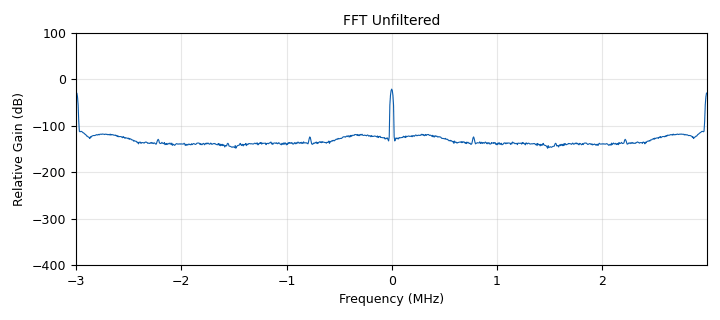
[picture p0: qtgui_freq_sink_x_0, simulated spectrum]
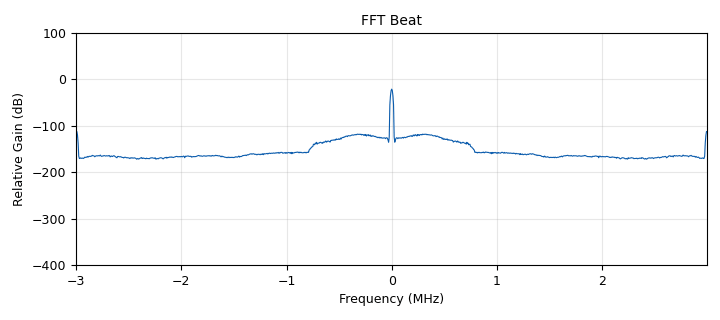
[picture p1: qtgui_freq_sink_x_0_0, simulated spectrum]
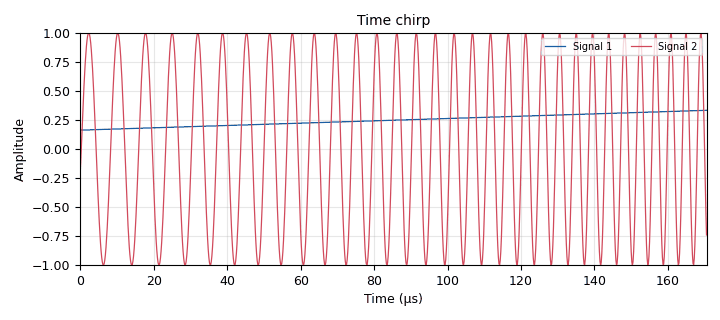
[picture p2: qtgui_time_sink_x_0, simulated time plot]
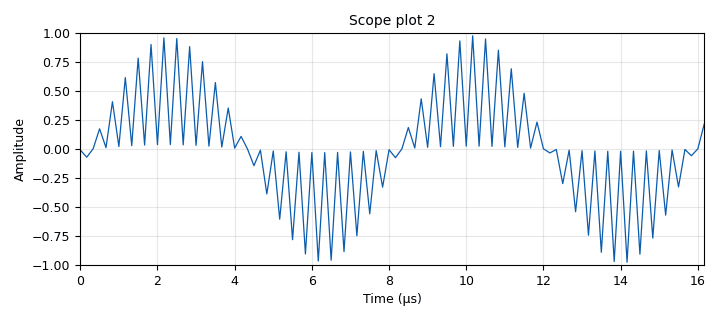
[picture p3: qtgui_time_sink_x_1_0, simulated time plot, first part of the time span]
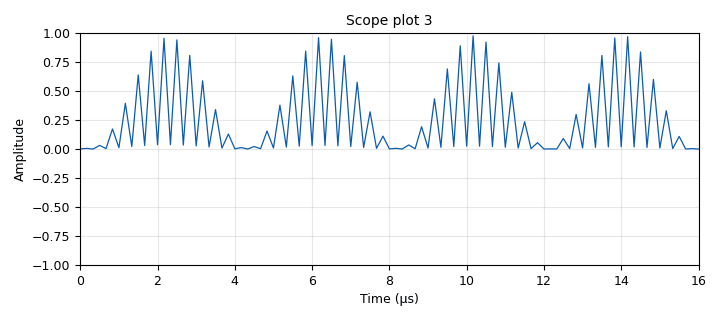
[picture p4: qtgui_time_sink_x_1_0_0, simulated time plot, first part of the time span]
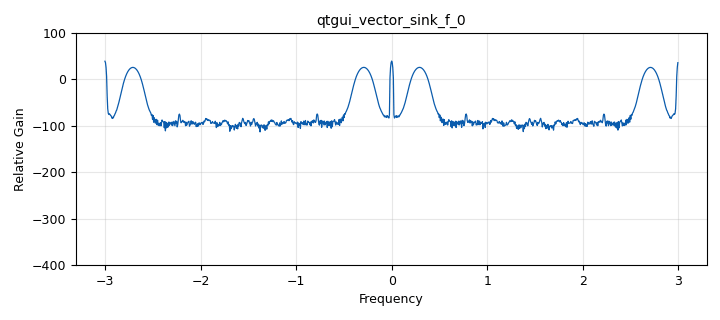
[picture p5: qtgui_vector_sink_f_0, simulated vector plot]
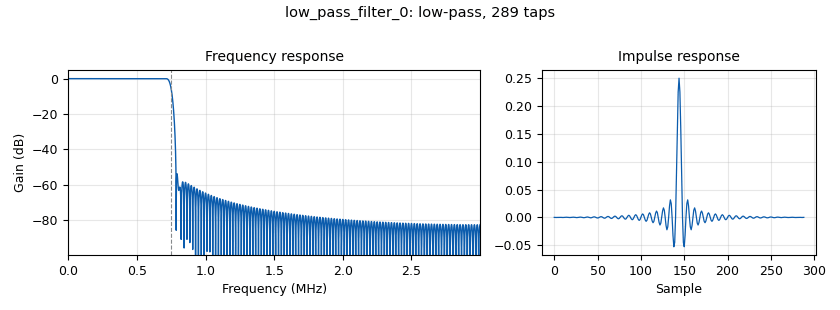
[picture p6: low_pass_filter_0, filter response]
options:
  parameters:
    generate_options: qt_gui
    id: top_block
    output_language: python
  states: {}

blocks:
- name: delay
  id: variable_qtgui_range
  parameters:
    label: '""'
    min_len: '2000'
    rangeType: int
    start: '0'
    step: '100'
    stop: '2000'
    value: '0'
  states: {}
- name: f_max
  id: variable
  parameters:
    comment: default = 750k
    value: 750e3
  states: {}
- name: fft_size
  id: variable
  parameters:
    value: 1024*1
  states: {}
- name: freq
  id: variable_qtgui_range
  parameters:
    label: '""'
    min_len: '2000'
    rangeType: int
    start: '0'
    step: '50'
    stop: '1000'
    value: '500'
  states: {}
- name: samp_rate
  id: variable
  parameters:
    value: '6000000'
  states: {}
- name: analog_const_source_x_0
  id: analog_const_source_x
  parameters:
    const: '1'
    type: float
  states: {}
- name: analog_sig_source_x_0_0
  id: analog_sig_source_x
  parameters:
    amp: '1'
    freq: freq
    offset: '0'
    phase: '0'
    samp_rate: samp_rate
    type: float
    waveform: analog.GR_TRI_WAVE
  states: {}
- name: blocks_complex_to_mag_squared_0
  id: blocks_complex_to_mag_squared
  parameters:
    vlen: fft_size
  states: {}
- name: blocks_delay_0
  id: blocks_delay
  parameters:
    delay: delay
    type: float
  states: {}
- name: blocks_delay_0_0
  id: blocks_delay
  parameters:
    delay: delay
    type: float
  states: {state: disabled}
- name: blocks_multiply_xx_0
  id: blocks_multiply_xx
  parameters:
    comment: |-
      -f_max < f < f_max
      -0.75M < f < 0.75M
    type: float
  states: {}
- name: blocks_multiply_xx_0_0
  id: blocks_multiply_xx
  parameters:
    comment: |-
      (1.5-0.75)M < f < (1.5+0.75)M
      0.75M < f < 2.25M
    type: float
  states: {}
- name: blocks_multiply_xx_0_1
  id: blocks_multiply_xx
  parameters:
    type: float
  states: {}
- name: blocks_nlog10_ff_1
  id: blocks_nlog10_ff
  parameters:
    k: '0'
    n: '10'
    vlen: fft_size
  states: {}
- name: blocks_stream_to_vector_0_1
  id: blocks_stream_to_vector
  parameters:
    num_items: fft_size
    type: float
  states: {}
- name: blocks_vco_f_0
  id: blocks_vco_f
  parameters:
    amplitude: '1'
    comment: |-
      -f_max < f < f_max
      -0.75M < f < 0.75M
    samp_rate: samp_rate
    sensitivity: 2*3.14*f_max
  states: {}
- name: blocks_vco_f_0_0
  id: blocks_vco_f
  parameters:
    amplitude: '1'
    comment: |-
      f = 2*f_max
      f = 1.5M
    samp_rate: samp_rate
    sensitivity: 4*3.14*f_max
  states: {}
- name: fft_vxx_0_0_0_1
  id: fft_vxx
  parameters:
    fft_size: fft_size
    forward: 'True'
    shift: 'True'
    type: float
    window: window.blackmanharris(fft_size)
  states: {}
- name: low_pass_filter_0
  id: low_pass_filter
  parameters:
    cutoff_freq: f_max
    decim: '1'
    gain: '1'
    samp_rate: samp_rate
    type: fir_filter_fff
    width: 50e3
    win: window.WIN_HAMMING
  states: {}
- name: qtgui_freq_sink_x_0
  id: qtgui_freq_sink_x
  parameters:
    average: '0.05'
    bw: samp_rate
    fc: '0'
    fftsize: fft_size
    name: FFT Unfiltered
    type: float
    update_time: '0.01'
    ymax: '100'
    ymin: '-400'
  states: {}
- name: qtgui_freq_sink_x_0_0
  id: qtgui_freq_sink_x
  parameters:
    average: '0.05'
    bw: samp_rate
    fc: '0'
    fftsize: fft_size
    name: FFT Beat
    type: float
    update_time: '0.01'
    ymax: '100'
    ymin: '-400'
  states: {}
- name: qtgui_time_sink_x_0
  id: qtgui_time_sink_x
  parameters:
    name: Time chirp
    nconnections: '2'
    size: '1024'
    srate: samp_rate
    type: float
  states: {}
- name: qtgui_time_sink_x_1
  id: qtgui_time_sink_x
  parameters:
    name: Scope plot 1
    size: '1024'
    srate: samp_rate
    type: float
  states: {state: disabled}
- name: qtgui_time_sink_x_1_0
  id: qtgui_time_sink_x
  parameters:
    name: Scope plot 2
    size: '1024'
    srate: samp_rate
    type: float
  states: {}
- name: qtgui_time_sink_x_1_0_0
  id: qtgui_time_sink_x
  parameters:
    name: Scope plot 3
    size: '1024'
    srate: samp_rate
    type: float
  states: {}
- name: qtgui_vector_sink_f_0
  id: qtgui_vector_sink_f
  parameters:
    average: '0.05'
    comment: x_step  = BW/fft_size
    update_time: '0.01'
    vlen: fft_size
    x_axis_label: '"Frequency"'
    x_start: '-3'
    x_step: '0.005859375'
    x_units: MHz
    y_axis_label: '"Relative Gain"'
    y_units: dB
    ymax: '100'
    ymin: '-400'
  states: {}
- name: qtgui_vector_sink_f_0_0
  id: qtgui_vector_sink_f
  parameters:
    average: '0.05'
    comment: |-
      if saw tooth, alpha = f_max*freq
      if triangular, alpha = 2*f_max*freq
      d = f*c/(2*alpha)
      x_step = 2d/fft_size
    update_time: '0.01'
    vlen: fft_size
    x_axis_label: '"Distance"'
    x_start: '-samp_rate*3e6/(8*f_max*freq)'
    x_step: 2*samp_rate*3e6/(8*f_max*freq*fft_size)
    x_units: m
    y_axis_label: '""'
    ymax: '100'
    ymin: '-400'
  states: {}
- name: qtgui_waterfall_sink_x_0
  id: qtgui_waterfall_sink_x
  parameters:
    bw: samp_rate
    fc: '0'
    fftsize: '512'
    type: float
  states: {state: disabled}

connections:
- [analog_const_source_x_0, '0', blocks_vco_f_0_0, '0']
- [analog_sig_source_x_0_0, '0', blocks_vco_f_0, '0']
- [analog_sig_source_x_0_0, '0', qtgui_time_sink_x_0, '0']
- [blocks_complex_to_mag_squared_0, '0', blocks_nlog10_ff_1, '0']
- [blocks_delay_0, '0', blocks_multiply_xx_0, '0']
- [blocks_delay_0_0, '0', blocks_multiply_xx_0_1, '1']
- [blocks_multiply_xx_0, '0', blocks_multiply_xx_0_1, '1']
- [blocks_multiply_xx_0, '0', qtgui_time_sink_x_1_0, '0']
- [blocks_multiply_xx_0_0, '0', blocks_delay_0, '0']
- [blocks_multiply_xx_0_0, '0', qtgui_time_sink_x_1, '0']
- [blocks_multiply_xx_0_1, '0', blocks_stream_to_vector_0_1, '0']
- [blocks_multiply_xx_0_1, '0', low_pass_filter_0, '0']
- [blocks_multiply_xx_0_1, '0', qtgui_freq_sink_x_0, '0']
- [blocks_multiply_xx_0_1, '0', qtgui_time_sink_x_1_0_0, '0']
- [blocks_nlog10_ff_1, '0', qtgui_vector_sink_f_0, '0']
- [blocks_nlog10_ff_1, '0', qtgui_vector_sink_f_0_0, '0']
- [blocks_stream_to_vector_0_1, '0', fft_vxx_0_0_0_1, '0']
- [blocks_vco_f_0, '0', blocks_delay_0_0, '0']
- [blocks_vco_f_0, '0', blocks_multiply_xx_0_0, '0']
- [blocks_vco_f_0, '0', blocks_multiply_xx_0_1, '0']
- [blocks_vco_f_0, '0', qtgui_time_sink_x_0, '1']
- [blocks_vco_f_0_0, '0', blocks_multiply_xx_0, '1']
- [blocks_vco_f_0_0, '0', blocks_multiply_xx_0_0, '1']
- [fft_vxx_0_0_0_1, '0', blocks_complex_to_mag_squared_0, '0']
- [low_pass_filter_0, '0', qtgui_freq_sink_x_0_0, '0']

metadata:
  file_format: 1
  grc_version: 3.9.8.0
